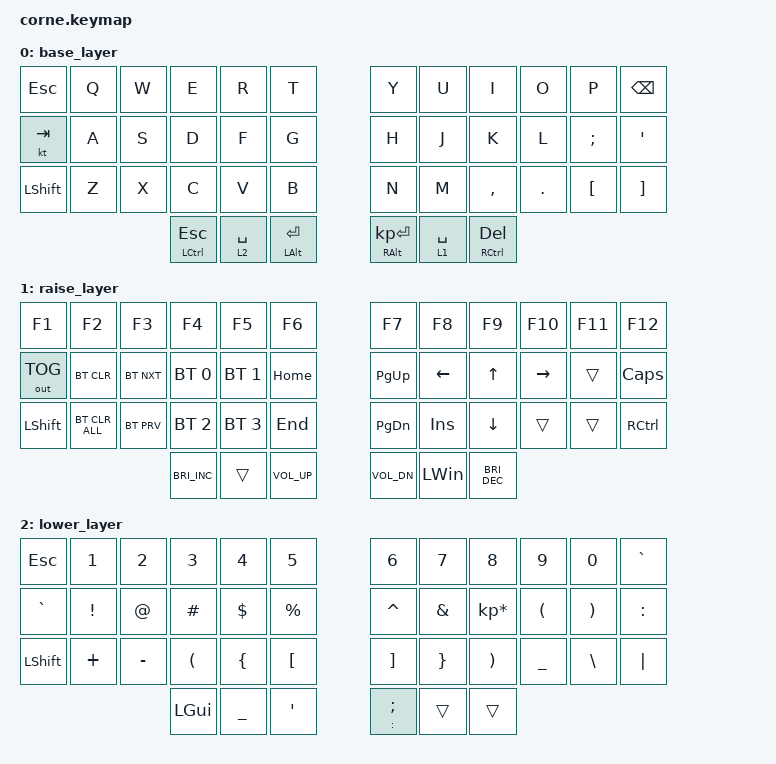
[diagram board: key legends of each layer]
/*
 * Copyright (c) 2020 The ZMK Contributors
 *
 * SPDX-License-Identifier: MIT
 * To use home rows - &hm LSHFT F
 */

#include <behaviors.dtsi>
#include <dt-bindings/zmk/bt.h>
#include <dt-bindings/zmk/keys.h>
#include <dt-bindings/zmk/outputs.h>

#define QWERTY 0
#define NUMB 1
#define NAVI 2
#define ADJUST 3

/ {
    behaviors {
        hm: homerow_mods {
            compatible = "zmk,behavior-hold-tap";
            label = "HOMEROW_MODS";
            #binding-cells = <2>;
            tapping-term-ms = <150>;
            quick_tap_ms = <0>;
            flavor = "tap-preferred";
            bindings = <&kp>, <&kp>;
        };
    };

    keymap {
        compatible = "zmk,keymap";

        base_layer {
            // .--------------------------------------------------------------.       .-----------------------------------------------------------.
            // |   ESC        |    Q    |    W   |   E    |    R    |    T    |       |   Y   |    U    |    I    |    O    |     P    |    \     |
            // |--------------+---------+--------+--------+---------+---------|       |-------+---------+---------+---------+----------+----------|
            // |   CTRL/Tab   |    A    |    S   |   D    |    F    |    G    |       |   H   |    J    |    K    |    L    |     ;    |     '    |
            // |--------------+---------+--------+--------+---------+---------|       |-------+---------+---------+---------+----------+----------|
            // |   SHFT       |    Z    |    X   |   C    |    V    |    B    |       |   N   |    M    |    ,    |    .    |     /    | ` | ALT  |
            // '---------------------------------+--------+---------+---------+       |-------+---------+---------+-------------------------------'
            //                                   |  GUI   |   MO1   |   ENT   |       |  SPC  |   BKSP  |  CAPS   |
            //                                   '--------+---------+---------'       '-------+---------+---------'

            bindings = <
&kp ESC    &kp Q  &kp W  &kp E          &kp R        &kp T                 &kp Y                   &kp U        &kp I          &kp O    &kp P             &kp BACKSPACE
&kt TAB    &kp A  &kp S  &kp D          &kp F        &kp G                 &kp H                   &kp J        &kp K          &kp L    &kp SEMI          &kp SQT
&kp LSHFT  &kp Z  &kp X  &kp C          &kp V        &kp B                 &kp N                   &kp M        &kp COMMA      &kp DOT  &kp LEFT_BRACKET  &kp RIGHT_BRACKET
                         &mt LCTRL ESC  &lt 2 SPACE  &mt LEFT_ALT ENTER    &mt RIGHT_ALT KP_ENTER  &lt 1 SPACE  &mt RCTRL DEL
            >;
        };

        raise_layer {
            // .--------------------------------------------------------------.       .-----------------------------------------------------------.
            // |   ESC        |    1    |    2   |   3    |    4    |    5    |       |   6   |    7    |    8    |    9    |     0    |    `     |
            // |--------------+---------+--------+--------+---------+---------|       |-------+---------+---------+---------+----------+----------|
            // |              |    !    |    @   |   #    |    $    |    %    |       |   ^   |    &    |    *    |    (    |     )    |     :    |
            // |--------------+---------+--------+--------+---------+---------|       |-------+---------+---------+---------+----------+----------|
            // |   SHFT       |         |    +   |   -    |    {    |    [    |       |   ]   |    }    |    =    |    _    |          |          |
            // '---------------------------------+--------+---------+---------+       |-------+---------+---------+-------------------------------'
            //                                   |  GUI   |         |   MO3   |       |   ,   |    .    |   ?     |
            //                                   '--------+---------+---------'       '-------+---------+---------'

            bindings = <
&kp F1          &kp F2          &kp F3      &kp F4                &kp F5        &kp F6             &kp F7         &kp F8          &kp F9          &kp F10          &kp F11  &kp F12
&out OUT_TOG    &bt BT_CLR      &bt BT_NXT  &bt BT_SEL 0          &bt BT_SEL 1  &kp HOME           &kp PAGE_UP    &kp LEFT_ARROW  &kp UP_ARROW    &kp RIGHT_ARROW  &trans   &kp CAPS
&kp LEFT_SHIFT  &bt BT_CLR_ALL  &bt BT_PRV  &bt BT_SEL 2          &bt BT_SEL 3  &kp END            &kp PAGE_DOWN  &kp INSERT      &kp DOWN_ARROW  &trans           &trans   &kp RCTRL
                                            &kp C_BRIGHTNESS_INC  &trans        &kp C_VOLUME_UP    &kp C_VOL_DN   &kp LEFT_WIN    &kp C_BRI_DEC
            >;
        };

        lower_layer {
            // .----------------------------------------------------------------.       .-----------------------------------------------------------------.
            // |   CMD+SHIFT+4  |       |   PU   |   UP   |    PD    |   HOME   |       |  HOME   |    PU    |    UP   |   PD    |          | CMD+SHIFT+4 |
            // |----------------+-------+--------+--------+----------+----------|       |---------+----------+---------+---------+----------+-------------|
            // |                |       |  LEFT  |  DOWN  |   RIGHT  |   END    |       |  END    |   LEFT   |   DOWN  |  RIGHT  |          |             |
            // |----------------+-------+--------+--------+----------+----------|       |---------+----------+---------+---------+----------+-------------|
            // |     OUT_TOG    |       |        |        |CTRL+LEFT |CTRL+RIGHT|       |CTRL+LEFT|CTRL+RIGHT|         |         |          |   OUT_TOG   |
            // '---------------------------------+--------+----------+----------+       |---------+----------+---------+----------------------------------'
            //                                   |  GUI   |   MO3    |          |       |         |          |         |
            //                                   '--------+----------+----------'       '---------+----------+---------'

            bindings = <
&kp ESC    &kp N1    &kp N2     &kp N3                &kp N4          &kp N5              &kp N6               &kp N7           &kp N8                 &kp N9          &kp N0         &kp GRAVE
&kp GRAVE  &kp EXCL  &kp AT     &kp HASH              &kp DLLR        &kp PRCNT           &kp CARET            &kp AMPS         &kp KP_MULTIPLY        &kp LPAR        &kp RPAR       &kp COLON
&kp LSHFT  &kp PLUS  &kp MINUS  &kp LEFT_PARENTHESIS  &kp LEFT_BRACE  &kp LEFT_BRACKET    &kp RIGHT_BRACKET    &kp RIGHT_BRACE  &kp RIGHT_PARENTHESIS  &kp UNDERSCORE  &kp BACKSLASH  &kp PIPE
                                &kp LGUI              &kp UNDERSCORE  &kp SQT             &mt COLON SEMICOLON  &trans           &trans
            >;
        };
    };
};
